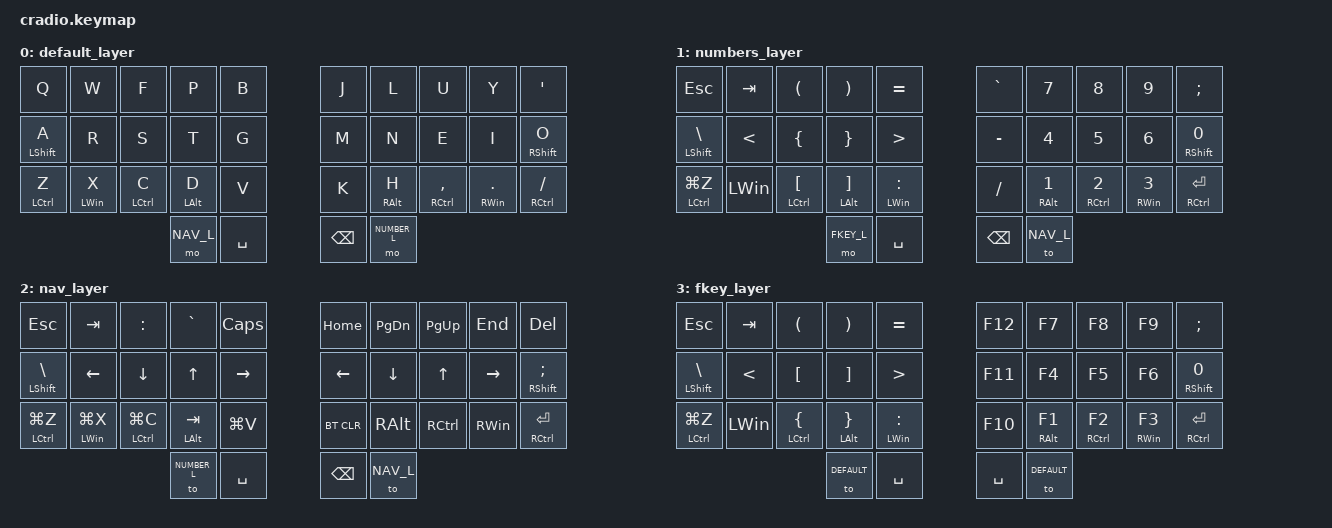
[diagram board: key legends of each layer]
/*
 * Copyright (c) 2020 The ZMK Contributors
 *
 * SPDX-License-Identifier: MIT
 */

#include <behaviors.dtsi>
#include <dt-bindings/zmk/keys.h>
#include <dt-bindings/zmk/outputs.h>
#include <dt-bindings/zmk/bt.h>

#define DEFAULT 0
#define NUMBER_L 1
#define NAV_L 2
#define FKEY_L 3

&mt {
  //  flavor = "tap-preferred";
   // tapping_term_ms = <200>;
};

&sk {
    release-after-ms = <2000>;
    quick-release;
};

/ { 

    behaviors {
        hm: homerow_mods {
            compatible = "zmk,behavior-hold-tap";
            #binding-cells = <2>;
            tapping-term-ms = <200>;
            quick-tap-ms = <200>;
            flavor = "balanced";
            bindings = <&kp>, <&kp>;
        };
    };

    combos {
        compatible = "zmk,combos";
        combo_esc { 
            timeout-ms = <50>;
            key-positions = <0 1>;
            bindings = <&kp ESC>;
        };
        combo_colon {
            timeout-ms = <50>;
            key-positions = <1 2>;
            bindings = <&kp COLON>;
        };
        combo_enter { 
            timeout-ms = <50>;
            key-positions = <18 19>;
            bindings = <&kp ENTER>;
        };
    };

        keymap {
                compatible = "zmk,keymap";

        default_layer {
            bindings = <
            &kp  Q 	&kp W           &kp F       &kp P   	    &kp B                   &kp J           &kp L   	    &kp U           &kp Y           &kp SQT
            &hm LSHIFT A	    &kp R           &kp S       &kp T           &kp G 		            &kp M      &kp N           &kp E           &kp I           &hm RSHIFT O
            &hm LCTRL Z       &hm LWIN X     &hm LCTRL C  &hm LALT D   	&kp V              &kp K       &hm RALT H   &hm RCTRL COMMA   &hm RWIN DOT 	&hm RCTRL  SLASH
                                                &mo NAV_L      &kp SPACE  				    &kp BSPC    &mo  NUMBER_L
            >;
		};

        numbers_layer {
            bindings = <
            &kp ESC     &kp  TAB      &kp LPAR        &kp RPAR       &kp EQUAL                           &kp GRAVE    &kp N7         &kp N8          &kp N9          &kp SEMI
            &hm LSHIFT BSLH     &kp LT          &kp LBRC       &kp RBRC       &kp GT                              &kp MINUS    &kp N4         &kp N5          &kp N6          &hm RSHIFT N0 
            &hm LCTRL  LG(Z)   &kp LWIN   &hm LCTRL LBKT       &hm LALT RBKT  &hm LWIN  COLON         &kp SLASH    &hm RALT N1   &hm RCTRL N2    &hm RWIN N3    &hm RCTRL ENTER 
                                        &mo FKEY_L     &kp SPACE 				                    &kp BSPC   &to NAV_L   
            >;
		};

		nav_layer {
            bindings = <
            &kp ESC 	        &kp TAB             &kp COLON          &kp GRAVE      &kp CLCK    			            &kp HOME    &kp PG_DN   &kp PG_UP    &kp END    &kp DEL 
            &hm LSHIFT BSLH    &kp LEFT             &kp DOWN        &kp UP          &kp RIGHT                        &kp LEFT    &kp DOWN    &kp UP      &kp RIGHT           &hm RSHIFT SEMICOLON
            &hm LCTRL  LG(Z)      &hm LWIN LG(X)   &hm LCTRL LG(C)       &hm LALT  TAB     &kp LG(V)                        &bt BT_CLR  &kp RALT       &kp RCTRL       &kp RWIN               &hm RCTRL ENTER
                                                                           &to NUMBER_L     &kp SPACE  				 &kp BSPC    &to NAV_L  
            >;
		};

        fkey_layer {
            bindings = <
            &kp ESC     &kp  TAB      &kp LPAR        &kp RPAR       &kp EQUAL                           &kp F12    &kp F7         &kp F8          &kp F9          &kp SEMI
            &hm LSHIFT BSLH     &kp LT          &kp LBKT       &kp RBKT       &kp GT                              &kp F11    &kp F4         &kp F5          &kp F6          &hm RSHIFT N0 
            &hm LCTRL  LG(Z)   &kp LWIN   &hm LCTRL LBRC       &hm LALT RBRC  &hm LWIN  COLON         &kp F10    &hm RALT F1   &hm RCTRL F2    &hm RWIN F3    &hm RCTRL ENTER 
                                        &to DEFAULT     &kp SPACE 				                    &kp SPACE   &to DEFAULT   
            >;
		};
	};
};
